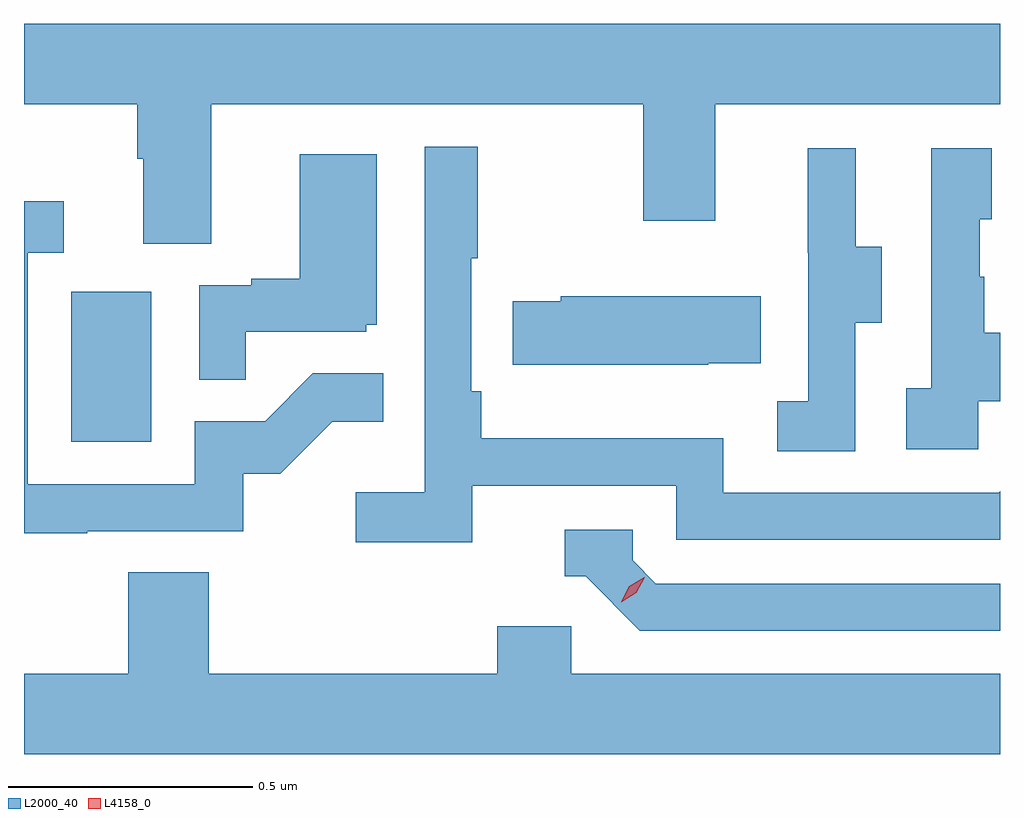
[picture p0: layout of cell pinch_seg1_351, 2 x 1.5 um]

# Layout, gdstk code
import gdstk
lib = gdstk.Library(unit=1e-6, precision=1e-09)
def R(c, l, rs):  # rectangles x0, y0, x1, y1
    for r in rs: c.add(gdstk.rectangle(r[:2], r[2:], *l))
def P(c, l, *ps):  # polygons
    for p in ps: c.add(gdstk.Polygon(p, *l))
L2000_40 = (2000, 40)
L4158_0 = (4158, 0)

pinch_seg1_351 = lib.new_cell('pinch_seg1_351')
R(pinch_seg1_351, L2000_40, [(965.408,547.044,965.572,547.351)])
P(pinch_seg1_351, L2000_40, [(965.695,547.736),(966.58,547.736),(966.58,547.497),(966.727,547.497),(966.727,547.736),(967.311,547.736),(967.311,547.9),(965.311,547.9),(965.311,547.736),(965.543,547.736),(965.543,547.624),(965.555,547.624),(965.555,547.45),(965.695,547.45)],
  [(966.23,546.954),(966.648,546.954),(966.648,546.843),(967.311,546.843),(967.311,546.942),(967.308,546.939),(966.744,546.939),(966.744,547.051),(966.248,547.051),(966.248,547.147),(966.228,547.147),(966.228,547.42),(966.241,547.42),(966.241,547.648),(966.132,547.648),(966.132,546.94),(965.991,546.94),(965.991,546.838),(966.23,546.838)],
  [(967.014,547.288),(967.069,547.288),(967.069,547.443),(967.015,547.443),(967.015,547.645),(966.917,547.645),(966.917,547.431),(966.918,547.431),(966.918,547.127),(966.855,547.127),(966.855,547.024),(967.014,547.024)],
  [(967.266,547.127),(967.311,547.127),(967.311,547.267),(967.279,547.267),(967.279,547.382),(967.269,547.382),(967.269,547.5),(967.294,547.5),(967.294,547.645),(967.17,547.645),(967.17,547.154),(967.119,547.154),(967.119,547.029),(967.266,547.029)],
  [(965.765,547.269),(966.012,547.269),(966.012,547.284),(966.034,547.284),(966.034,547.633),(965.876,547.633),(965.876,547.378),(965.777,547.378),(965.777,547.365),(965.67,547.365),(965.67,547.171),(965.765,547.171)],
  [(965.441,546.861),(965.76,546.861),(965.76,546.978),(965.836,546.978),(965.943,547.085),(966.047,547.085),(966.047,547.184),(965.903,547.184),(965.805,547.086),(965.661,547.086),(965.661,546.957),(965.319,546.957),(965.319,547.431),(965.392,547.431),(965.392,547.537),(965.311,547.537),(965.311,546.856),(965.441,546.856)],
  [(966.713,547.205),(966.821,547.205),(966.821,547.342),(966.411,547.342),(966.411,547.332),(966.313,547.332),(966.313,547.202),(966.713,547.202)],
  [(967.311,546.753),(966.606,546.753),(966.558,546.801),(966.558,546.864),(966.419,546.864),(966.419,546.768),(966.462,546.768),(966.573,546.657),(967.311,546.657)],
  [(967.311,546.568),(966.432,546.568),(966.432,546.666),(966.281,546.666),(966.281,546.568),(965.69,546.568),(965.69,546.776),(965.525,546.776),(965.525,546.568),(965.311,546.568),(965.311,546.404),(967.311,546.404)])
P(pinch_seg1_351, L4158_0, [(966.535,546.715),(966.535,546.716),(966.551,546.748),(966.582,546.766),(966.583,546.766),(966.583,546.766),(966.566,546.734),(966.535,546.715)])

lib.write_gds('pinch_seg1_351.gds')
